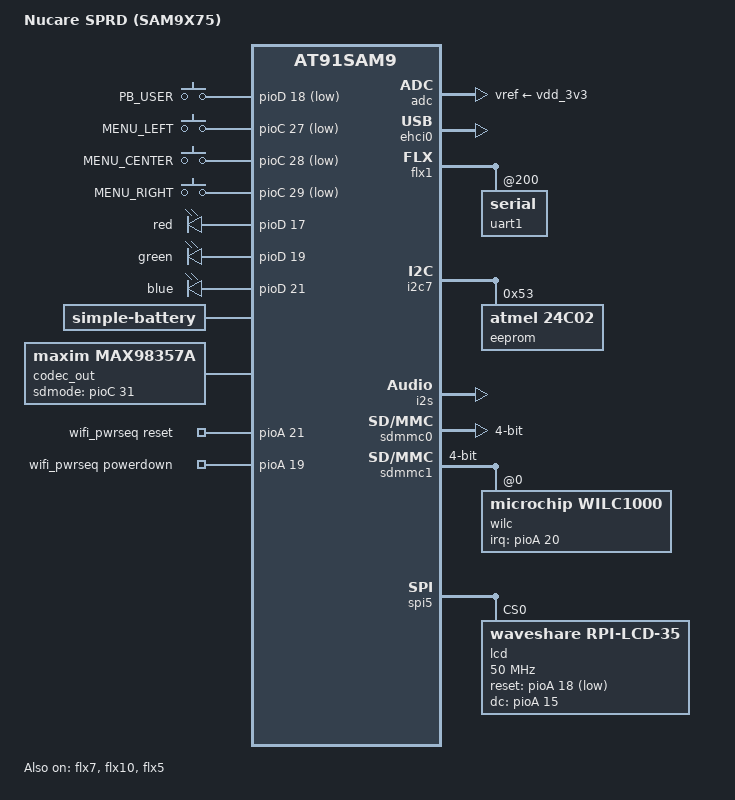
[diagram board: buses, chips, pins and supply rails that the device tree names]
// SPDX-License-Identifier: (GPL-2.0+ OR MIT)
/*
 * at91-sam9x75_sprd.dts - Device Tree file for the Nucare SPRD board
 *                         on the Microchip SAM9X75 SOM.
 *
 * Migrated from the SAM9X60-based nc-sprd.dts. Built on sam9x75_som.dtsi,
 * which already provides: dbgu/serial0, NAND, QSPI boot flash, the mcp16502
 * PMIC (i2c6), GMAC, RTT, TRNG, watchdog and the poweroff/shutdown controller.
 *
 * IMPORTANT (SAM9X60 -> SAM9X75 port):
 * The Flexcom-to-function mapping and the PIO peripheral function-selects
 * differ completely between the two SoCs. Peripherals whose SAM9X75 pins are
 * verified (from sam9x7.dtsi or a SAM9X75 reference board) are enabled below.
 * Peripherals whose pins depend on the SAM9X75 SPRD/SOM schematic are left
 * status = "disabled" and tagged "FIXME(SPRD-9x75)" with placeholder pins
 * carried over from the SAM9X60 design - DO NOT enable them before replacing
 * those pins with the schematic-correct SAM9X75 values, otherwise the kernel
 * may drive contended balls.
 *
 * Author: Nam Tran <nam.tran@nucaremed.com>
 */
/dts-v1/;
#include "arm/microchip/sam9x75_som.dtsi"
#include <dt-bindings/input/input.h>

/ {
	model = "Nucare SPRD (SAM9X75)";
	compatible = "nucare,sam9x75-sprd", "microchip,sam9x7", "atmel,at91sam9";

	aliases {
		/* i2c0 = &i2c6 (PMIC) comes from sam9x75_som.dtsi */
		i2c1 = &i2c7;		/* EEPROM */
		i2c2 = &i2c10;		/* Battery / charger */
		serial1 = &uart0;	/* Bluetooth - FIXME pins */
		serial2 = &uart1;	/* FPGA */
		serial3 = &uart9;	/* GPS - FIXME pins */
		serial4 = &uart3;	/* LTE - FIXME pins */
	};

	/* stdout-path / chosen and memory (512 MB) come from sam9x75_som.dtsi.
	 * FIXME(SPRD-9x75): confirm the SOM RAM size matches this board.
	 */
 
	keys: gpio-keys {
		compatible = "gpio-keys";
		pinctrl-names = "default";
		pinctrl-0 = <&pinctrl_key_gpio_default>;
		status = "okay";

		/* FIXME(SPRD-9x75): confirm these GPIO lines against the
		 * SAM9X75 SPRD schematic (carried over from SAM9X60).
		 */
		btn_user: button-user {
			label = "PB_USER";
			gpios = <&pioD 18 GPIO_ACTIVE_LOW>;
			linux,code = <KEY_PROG1>;
			wakeup-source;
		};

		btn_left: button-left {
			label = "MENU_LEFT";
			gpios = <&pioC 27 GPIO_ACTIVE_LOW>;
			linux,code = <BTN_TRIGGER_HAPPY1>;
			wakeup-source;
		};

		btn_center: button-center {
			label = "MENU_CENTER";
			gpios = <&pioC 28 GPIO_ACTIVE_LOW>;
			linux,code = <BTN_TRIGGER_HAPPY2>;
			wakeup-source;
		};

		btn_right: button-right {
			label = "MENU_RIGHT";
			gpios = <&pioC 29 GPIO_ACTIVE_LOW>;
			linux,code = <BTN_TRIGGER_HAPPY3>;
			wakeup-source;
		};
	};

	leds {
		compatible = "gpio-leds";
		pinctrl-names = "default";
		pinctrl-0 = <&pinctrl_gpio_leds>;
		status = "okay";

		/* FIXME(SPRD-9x75): confirm LED GPIO lines against the schematic.
		 * PD17/PD19/PD21 are GPIO-only on SAM9X75 and unused by the SOM.
		 */
		red {
			label = "red";
			gpios = <&pioD 17 GPIO_ACTIVE_HIGH>;
		};

		green {
			label = "green";
			gpios = <&pioD 19 GPIO_ACTIVE_HIGH>;
		};

		blue {
			label = "blue";
			gpios = <&pioD 21 GPIO_ACTIVE_HIGH>;
			linux,default-trigger = "heartbeat";
		};
	};

	sound {
		compatible = "simple-audio-card";
		simple-audio-card,name = "1334 Card";
		simple-audio-card,format = "i2s";
		simple-audio-card,bitclock-master = <&i2s>;
		simple-audio-card,frame-master = <&i2s>;
		simple-audio-card,cpu {
			#sound-dai-cells = <0>;
			sound-dai = <&i2s>;
		};
		codec_dai: simple-audio-card,codec {
			#sound-dai-cells = <0>;
			sound-dai = <&codec_out>;
		};
	};

	bat: battery {
		compatible = "simple-battery";
		precharge-current-microamp = <150000>;
		charge-term-current-microamp = <150000>;
		constant-charge-current-max-microamp = <2000000>;
		constant-charge-voltage-max-microvolt = <4200000>;
		voltage-max-design-microvolt = <4200000>;
		voltage-min-design-microvolt = <2800000>;
		energy-full-design-microwatt-hours = <12060000>;
		charge-full-design-microamp-hours = <3350000>;
	};

	codec_out: max98357a {
		compatible = "maxim,max98357a";
		#sound-dai-cells = <0>;
		/* FIXME(SPRD-9x75): SD_MODE GPIO carried over from SAM9X60 (PC31);
		 * verify against the SAM9X75 SPRD schematic.
		 */
		sdmode-gpios = <&pioC 31 GPIO_ACTIVE_HIGH>;
		sdmode-delay = <5>;
		status = "okay";
	};

	/* ATWILC3000 WiFi/BT combo on SDMMC1 (SDIO). Two-stage power-up
	 * (CHIP_EN then RESETN) handled by the mmc-pwrseq-wilc1000 driver.
	 */
	wifi_pwrseq: wifi-pwrseq {
		compatible = "mmc-pwrseq-wilc1000";
		reset-gpios = <&pioA 21 GPIO_ACTIVE_HIGH>;	/* WIFI_Rst    */
		powerdown-gpios = <&pioA 19 GPIO_ACTIVE_HIGH>;	/* WIFI_EN_MPU */
		pinctrl-names = "default";
		pinctrl-0 = <&pinctrl_wilc_pwrseq_default>;
	};
};

/* ===== Verified peripherals (SAM9X75 pins confirmed) ===== */

&adc {
	vddana-supply = <&vdd_3v3>;
	vref-supply = <&vdd_3v3>;
	/* Only the external trigger pin (PB18, verified) is muxed here.
	 * FIXME(SPRD-9x75): add the analog channel pin group once the
	 * SAM9X75 ADC channel routing is known (SAM9X60 used PB14).
	 */
	pinctrl-names = "default";
	pinctrl-0 = <&pinctrl_adtrg_default>;
	status = "okay";
};

&ehci0 {
	status = "okay";
};

&flx1 {
	atmel,flexcom-mode = <ATMEL_FLEXCOM_MODE_USART>;
	status = "okay";

	/* FPGA control UART */
	uart1: serial@200 {
		pinctrl-names = "default";
		pinctrl-0 = <&pinctrl_flx1_default>;
		status = "okay";
	};
};

&flx7 {
	atmel,flexcom-mode = <ATMEL_FLEXCOM_MODE_TWI>;
	status = "okay";

	i2c7: i2c@600 {
		#address-cells = <1>;
		#size-cells = <0>;
		dmas = <0>, <0>;
		pinctrl-names = "default";
		pinctrl-0 = <&pinctrl_flx7_default>;
		i2c-analog-filter;
		i2c-digital-filter;
		i2c-digital-filter-width-ns = <35>;
		status = "okay";

		/* FIXME(SPRD-9x75): confirm the EEPROM sits on this bus
		 * (it was on i2c0/flx0 on the SAM9X60 design). Pins PC0/PC1
		 * are the verified SAM9X75 flx7 TWI function.
		 */
		eeprom@53 {
			compatible = "atmel,24c02";
			reg = <0x53>;
			pagesize = <16>;
			status = "okay";
		};
	};
};

&flx10 {
	atmel,flexcom-mode = <ATMEL_FLEXCOM_MODE_TWI>;
	status = "okay";

	i2c10: i2c@600 {
		#address-cells = <1>;
		#size-cells = <0>;
		dmas = <0>, <0>;
		pinctrl-names = "default";
		pinctrl-0 = <&pinctrl_flx10_default>;
		i2c-analog-filter;
		i2c-digital-filter;
		i2c-digital-filter-width-ns = <35>;
		//FIXME: HH300 don't use batter driver, battery control by fpga.
		status = "disabled";

		fuel: fuel@55 {
			compatible = "ti,bq27441";
			reg = <0x55>;
			monitored-battery = <&bat>;
		};
		bq24196: charger@6b {
			compatible = "ti,bq24196";
			reg = <0x6b>;
			/* FIXME(SPRD-9x75): charger IRQ. The SAM9X60 design used
			 * pioA 1, which is the sdmmc0 CMD line on SAM9X75 - it
			 * cannot be reused. Provide a free SAM9X75 GPIO and
			 * re-enable the two properties below.
			 * interrupt-parent = <&pioA>;
			 * interrupts = <1 IRQ_TYPE_EDGE_FALLING 1>;
			 */
			ti,system-minimum-microvolt = <3200000>;
			monitored-battery = <&bat>;
			omit-battery-class;

			usb_otg_vbus: usb-otg-vbus { };
		};
	};
};

&i2s {
	pinctrl-names = "default";
	pinctrl-0 = <&pinctrl_i2s_default>;
	#sound-dai-cells = <0>;
	status = "okay";
};

&sdmmc0 {
	bus-width = <4>;
	pinctrl-names = "default";
	pinctrl-0 = <&pinctrl_sdmmc0_default>;
	disable-wp;
	/* FIXME(SPRD-9x75): card-detect GPIO (SAM9X60 used pioB 12). Set the
	 * correct SAM9X75 line, or add "broken-cd"/"non-removable" as needed.
	 * cd-gpios = <&pioX YY GPIO_ACTIVE_LOW>;
	 */
	status = "okay";
};

&sdmmc1 {
	/* ATWILC3000 WiFi over SDIO (4-bit). Soldered module: non-removable,
	 * 3.3V-only signaling (no-1-8-v), powered/reset via &wifi_pwrseq.
	 */
	bus-width = <4>;
	pinctrl-names = "default";
	pinctrl-0 = <&pinctrl_sdmmc1_default>;
	#address-cells = <1>;
	#size-cells = <0>;
	mmc-pwrseq = <&wifi_pwrseq>;
	status = "okay";

	wilc: wifi@0 {
		compatible = "microchip,wilc1000", "microchip,wilc3000";
		reg = <0>;
		pinctrl-names = "default";
		pinctrl-0 = <&pinctrl_wilc_default>;
		interrupt-parent = <&pioA>;
		interrupts = <20 IRQ_TYPE_LEVEL_LOW>;	/* WIFI_INT PA20 */
		status = "okay";
	};
};

&tcb {
	timer0: timer@0 {
		compatible = "atmel,tcb-timer";
		reg = <0>;
	};

	timer1: timer@1 {
		compatible = "atmel,tcb-timer";
		reg = <1>;
	};
};

/* ===== Disabled until the SAM9X75 schematic pin map is known ===== */

&can0 {
	pinctrl-names = "default";
	pinctrl-0 = <&pinctrl_can0_default>;
	status = "disabled"; /* shares PA26/27 with dbgu/serial0 */
};

&can1 {
	pinctrl-names = "default";
	pinctrl-0 = <&pinctrl_can1_default>;
	status = "disabled"; /* shares PA28/29 with flx1/uart1 (FPGA) */
};

&flx0 {
	/* Bluetooth UART. Relocated off flx6 (now the PMIC TWI on the SOM). */
	atmel,flexcom-mode = <ATMEL_FLEXCOM_MODE_USART>;
	status = "disabled"; /* FIXME(SPRD-9x75): set flx0 USART pins, then enable */

	uart0: serial@200 {
		pinctrl-names = "default";
		pinctrl-0 = <&pinctrl_flx0_uart_fixme>;
		status = "disabled";
	};
};

&flx3 {
	/* LTE modem UART */
	atmel,flexcom-mode = <ATMEL_FLEXCOM_MODE_USART>;
	status = "disabled"; /* FIXME(SPRD-9x75): set flx3 USART pins, then enable */

	uart3: serial@200 {
		pinctrl-names = "default";
		pinctrl-0 = <&pinctrl_flx3_uart_fixme>;
		status = "disabled";
	};
};

&flx5 {
	/* LCD (ST7789V) on CS0 + FPGA configuration on CS1 (FPGA still FIXME). */
	atmel,flexcom-mode = <ATMEL_FLEXCOM_MODE_SPI>;
	status = "okay";
};

&spi5 {
	#address-cells = <1>;
	#size-cells = <0>;
	pinctrl-names = "default";
	pinctrl-0 = <&pinctrl_flx5_spi>;
	status = "okay";

	lcd: lcd@0 {
		compatible = "waveshare,rpi-lcd-35";
		reg = <0>;
		buswidth = <8>;
		rotation = <180>;
		spi-max-frequency = <50000000>;
		write-only;
		spi-cpol;
		spi-cpha;
		reset-gpios = <&pioA 18 GPIO_ACTIVE_LOW>;
		dc-gpios = <&pioA 15 GPIO_ACTIVE_HIGH>;
		status = "okay";
	};
};

&flx9 {
	/* GPS UART */
	atmel,flexcom-mode = <ATMEL_FLEXCOM_MODE_USART>;
	status = "disabled"; /* FIXME(SPRD-9x75): set flx9 USART pins, then enable */

	uart9: serial@200 {
		pinctrl-names = "default";
		pinctrl-0 = <&pinctrl_flx9_uart_fixme>;
		status = "disabled";
	};
};

&gmac {
	/* SAM9X60 SPRD had no Ethernet. The SOM enables GMAC by default.
	 * FIXME(SPRD-9x75): confirm whether the SAM9X75 SOM PHY is used on
	 * this board; remove this override to re-enable Ethernet.
	 */
	status = "disabled";
};

&ohci0 {
	num-ports = <1>;
	pinctrl-names = "default";
	pinctrl-0 = <&pinctrl_usb_default_fixme>;
	status = "disabled"; /* FIXME(SPRD-9x75): set VBUS GPIO(s), then enable */
};

&usb0 {
	/* USB device / OTG */
	status = "disabled"; /* FIXME(SPRD-9x75): set VBUS/ID GPIOs, then enable */
};

&pinctrl {
	/* --- Verified SAM9X75 pin groups --- */
	adc {
		pinctrl_adtrg_default: adtrg-default {
			atmel,pins = <AT91_PIOB 18 AT91_PERIPH_B AT91_PINCTRL_PULL_UP>;
		};
	};

	can0 {
		pinctrl_can0_default: can0-default {
			atmel,pins = <AT91_PIOA 26 AT91_PERIPH_B AT91_PINCTRL_PULL_UP	/* CANRX0 */
				      AT91_PIOA 27 AT91_PERIPH_B AT91_PINCTRL_PULL_UP>;	/* CANTX0 */
		};
	};

	can1 {
		pinctrl_can1_default: can1-default {
			atmel,pins = <AT91_PIOA 28 AT91_PERIPH_B AT91_PINCTRL_PULL_UP	/* CANTX1 */
				      AT91_PIOA 29 AT91_PERIPH_B AT91_PINCTRL_PULL_UP>;	/* CANRX1 */
		};
	};

	flexcom {
		pinctrl_flx1_default: flx1-default {
			atmel,pins = <AT91_PIOA 28 AT91_PERIPH_A AT91_PINCTRL_NONE
				      AT91_PIOA 29 AT91_PERIPH_A AT91_PINCTRL_NONE>;
		};

		pinctrl_flx7_default: flx7-default {
			atmel,pins = <AT91_PIOC 0 AT91_PERIPH_C AT91_PINCTRL_PULL_UP
				      AT91_PIOC 1 AT91_PERIPH_C AT91_PINCTRL_PULL_UP>;
		};

		pinctrl_flx10_default: flx10-default {
			atmel,pins = <AT91_PIOC 16 AT91_PERIPH_C AT91_PINCTRL_PULL_UP
				      AT91_PIOC 17 AT91_PERIPH_C AT91_PINCTRL_PULL_UP>;
		};
	};

	i2s {
		pinctrl_i2s_default: i2s-default {
			atmel,pins =
				<AT91_PIOB 26 AT91_PERIPH_D AT91_PINCTRL_NONE		/* I2SCK */
				 AT91_PIOB 15 AT91_PERIPH_D AT91_PINCTRL_NONE		/* I2SWS */
				 AT91_PIOB 16 AT91_PERIPH_D AT91_PINCTRL_NONE		/* I2SDIN */
				 AT91_PIOB 17 AT91_PERIPH_D AT91_PINCTRL_NONE		/* I2SDOUT */
				 AT91_PIOB 25 AT91_PERIPH_D AT91_PINCTRL_NONE>;		/* I2SMCK */
		};
	};

	sdmmc0 {
		pinctrl_sdmmc0_default: sdmmc0-default {
			atmel,pins =
				<AT91_PIOA 2 AT91_PERIPH_A (AT91_PINCTRL_DRIVE_STRENGTH_HI | AT91_PINCTRL_SLEWRATE_ENA)>,			/* CK */
				<AT91_PIOA 1 AT91_PERIPH_A (AT91_PINCTRL_PULL_UP | AT91_PINCTRL_DRIVE_STRENGTH_HI | AT91_PINCTRL_SLEWRATE_ENA)>,	/* CMD */
				<AT91_PIOA 0 AT91_PERIPH_A (AT91_PINCTRL_PULL_UP | AT91_PINCTRL_DRIVE_STRENGTH_HI | AT91_PINCTRL_SLEWRATE_ENA)>,	/* DAT0 */
				<AT91_PIOA 3 AT91_PERIPH_A (AT91_PINCTRL_PULL_UP | AT91_PINCTRL_DRIVE_STRENGTH_HI | AT91_PINCTRL_SLEWRATE_ENA)>,	/* DAT1 */
				<AT91_PIOA 4 AT91_PERIPH_A (AT91_PINCTRL_PULL_UP | AT91_PINCTRL_DRIVE_STRENGTH_HI | AT91_PINCTRL_SLEWRATE_ENA)>,	/* DAT2 */
				<AT91_PIOA 5 AT91_PERIPH_A (AT91_PINCTRL_PULL_UP | AT91_PINCTRL_DRIVE_STRENGTH_HI | AT91_PINCTRL_SLEWRATE_ENA)>;	/* DAT3 */
		};
	};

	sdmmc1 {
		/* SAM9X75 SDMMC1 = PA6..PA11 periph B (verified vs at91-sam9x75_curiosity.dts) */
		pinctrl_sdmmc1_default: sdmmc1-default {
			atmel,pins =
				<AT91_PIOA 11 AT91_PERIPH_B (AT91_PINCTRL_DRIVE_STRENGTH_HI | AT91_PINCTRL_SLEWRATE_ENA)>,	/* CK   */
				<AT91_PIOA 10 AT91_PERIPH_B (AT91_PINCTRL_DRIVE_STRENGTH_HI | AT91_PINCTRL_SLEWRATE_ENA)>,	/* CMD  */
				<AT91_PIOA 9 AT91_PERIPH_B (AT91_PINCTRL_DRIVE_STRENGTH_HI | AT91_PINCTRL_SLEWRATE_ENA)>,	/* DAT0 */
				<AT91_PIOA 6 AT91_PERIPH_B (AT91_PINCTRL_DRIVE_STRENGTH_HI | AT91_PINCTRL_SLEWRATE_ENA)>,	/* DAT1 */
				<AT91_PIOA 7 AT91_PERIPH_B (AT91_PINCTRL_DRIVE_STRENGTH_HI | AT91_PINCTRL_SLEWRATE_ENA)>,	/* DAT2 */
				<AT91_PIOA 8 AT91_PERIPH_B (AT91_PINCTRL_DRIVE_STRENGTH_HI | AT91_PINCTRL_SLEWRATE_ENA)>;	/* DAT3 */
		};
	};

	wilc {
		/* WIFI_INT (PA20): active-low open-drain IRQ -> pull up to idle high. */
		pinctrl_wilc_default: wilc-default {
			atmel,pins = <AT91_PIOA 20 AT91_PERIPH_GPIO AT91_PINCTRL_PULL_UP>;
		};
	};

	wilc_pwrseq {
		pinctrl_wilc_pwrseq_default: wilc-pwrseq-default {
			atmel,pins = <AT91_PIOA 19 AT91_PERIPH_GPIO AT91_PINCTRL_PULL_DOWN	/* WIFI_EN_MPU */
				      AT91_PIOA 21 AT91_PERIPH_GPIO AT91_PINCTRL_PULL_DOWN>;	/* WIFI_Rst    */
		};
	};

	gpio_keys {
		/* FIXME(SPRD-9x75): SAM9X60-derived lines; verify routing. */
		pinctrl_key_gpio_default: key-gpio-default {
			atmel,pins =
				<AT91_PIOD 18 AT91_PERIPH_GPIO AT91_PINCTRL_NONE
				 AT91_PIOC 27 AT91_PERIPH_GPIO AT91_PINCTRL_NONE
				 AT91_PIOC 28 AT91_PERIPH_GPIO AT91_PINCTRL_NONE
				 AT91_PIOC 29 AT91_PERIPH_GPIO AT91_PINCTRL_NONE>;
		};
	};

	leds {
		/* FIXME(SPRD-9x75): SAM9X60-derived lines; verify routing. */
		pinctrl_gpio_leds: gpio-leds {
			atmel,pins = <AT91_PIOD 17 AT91_PERIPH_GPIO AT91_PINCTRL_NONE
				      AT91_PIOD 19 AT91_PERIPH_GPIO AT91_PINCTRL_NONE
				      AT91_PIOD 21 AT91_PERIPH_GPIO AT91_PINCTRL_NONE>;
		};
	};

	/* --- FIXME placeholder groups (SAM9X60 pins, used only by disabled
	 * nodes). Replace every pin here with the schematic-correct SAM9X75
	 * value before enabling the corresponding node. ---
	 */
	flexcom_fixme {
		pinctrl_flx0_uart_fixme: flx0-uart-fixme {	/* Bluetooth - SAM9X60 PA30/PA31 */
			atmel,pins = <AT91_PIOA 30 AT91_PERIPH_A AT91_PINCTRL_NONE
				      AT91_PIOA 31 AT91_PERIPH_A AT91_PINCTRL_NONE>;
		};

		pinctrl_flx3_uart_fixme: flx3-uart-fixme {	/* LTE - SAM9X60 PC22/PC23 */
			atmel,pins = <AT91_PIOC 22 AT91_PERIPH_B AT91_PINCTRL_NONE
				      AT91_PIOC 23 AT91_PERIPH_B AT91_PINCTRL_NONE>;
		};

		/* FLEXCOM5 SPI on SAM9X75 SPRD - PA14/16/17.
		 * VERIFY peripheral letter (B vs C) against the SAM9X75 datasheet
		 * PIO multiplexing table. Both columns are legal per mux-mask;
		 * defaulting to B by analogy with the SAM9X60 flx5 SPI placement.
		 */
		pinctrl_flx5_spi: flx5-spi {
			atmel,pins = <AT91_PIOA 16 AT91_PERIPH_B AT91_PINCTRL_NONE   /* FLEXCOM5_IO0 MOSI */
				      AT91_PIOA 17 AT91_PERIPH_B AT91_PINCTRL_NONE   /* FLEXCOM5_IO2 SPCK */
				      AT91_PIOA 14 AT91_PERIPH_B AT91_PINCTRL_NONE   /* FLEXCOM5_IO3 NPCS0 */
				      AT91_PIOA 30 AT91_PERIPH_B AT91_PINCTRL_NONE>; /* FLEXCOM5_IO4 NPCS1 */
		};

		pinctrl_flx9_uart_fixme: flx9-uart-fixme {	/* GPS - SAM9X60 PC8/PC9 */
			atmel,pins = <AT91_PIOC 8 AT91_PERIPH_C AT91_PINCTRL_NONE
				      AT91_PIOC 9 AT91_PERIPH_C AT91_PINCTRL_NONE>;
		};
	};

	usb_fixme {
		pinctrl_usb_default_fixme: usb-default-fixme {	/* SAM9X60 PA27 VBUS */
			atmel,pins = <AT91_PIOA 27 AT91_PERIPH_GPIO AT91_PINCTRL_NONE>;
		};
	};
}; /* pinctrl */
